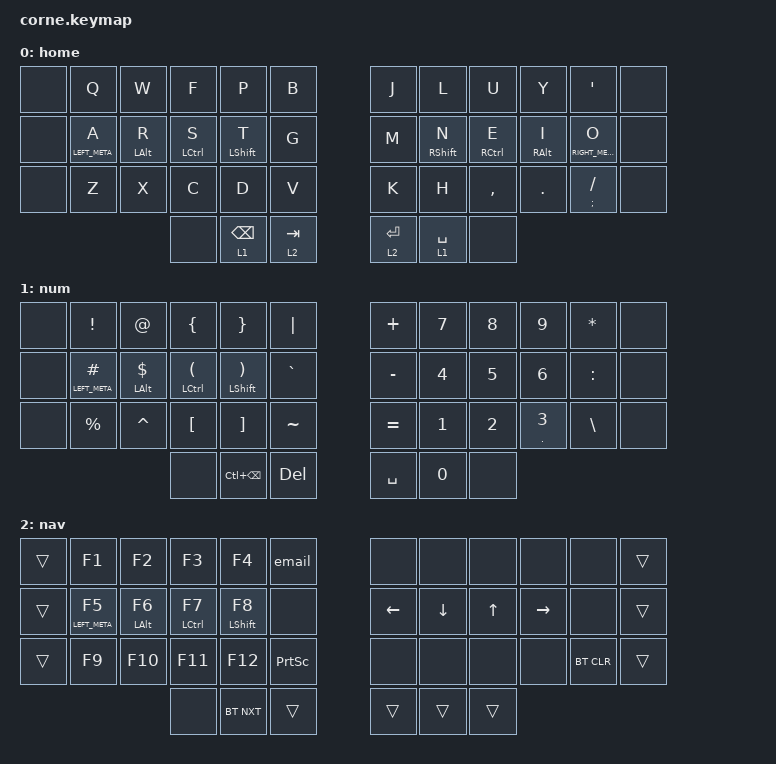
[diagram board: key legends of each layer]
/*
 * Copyright (c) 2020 The ZMK Contributors
 *
 * SPDX-License-Identifier: MIT
 */

#include <behaviors.dtsi>
#include <dt-bindings/zmk/bt.h>
#include <dt-bindings/zmk/keys.h>

/ {
    behaviors {
        hm: homerow_mods {
            compatible = "zmk,behavior-hold-tap";
            label = "HOMEROW_MODS";
            bindings = <&kp>, <&kp>;

            #binding-cells = <2>;
            tapping-term-ms = <200>;
            flavor = "tap-preferred";
            require-prior-idle-ms = <125>;
            quick-tap-ms = <200>;
        };

        shifthr: shifthr {
            compatible = "zmk,behavior-hold-tap";
            label = "SHIFTHR";
            bindings = <&kp>, <&kp>;

            #binding-cells = <2>;
            tapping-term-ms = <185>;
            flavor = "tap-preferred";
            quick-tap-ms = <185>;
        };

        weak: weak {
            compatible = "zmk,behavior-hold-tap";
            label = "WEAK";
            bindings = <&kp>, <&kp>;

            #binding-cells = <2>;
            tapping-term-ms = <230>;
            flavor = "tap-preferred";
            require-prior-idle-ms = <125>;
            quick-tap-ms = <230>;
        };

        backspace: backspace {
            compatible = "zmk,behavior-tap-dance";
            label = "BACKSPACE";
            #binding-cells = <0>;
            bindings = <&kp BACKSPACE>, <&kp LC(BACKSPACE)>;
        };
    };

    combos {
        compatible = "zmk,combos";

        escape {
            bindings = <&kp ESCAPE>;
            key-positions = <16 19>;
        };

        under {
            bindings = <&kp UNDER>;
            key-positions = <28 31>;
        };

        dash {
            bindings = <&kp MINUS>;
            key-positions = <4 7>;
        };

        capsword {
            bindings = <&caps_word>;
            key-positions = <13 22>;
        };
    };

    macros {
        save: save {
            compatible = "zmk,behavior-macro";
            #binding-cells = <0>;
            bindings = <&macro_tap>, <&kp ESCAPE &kp COLON &kp W &kp ENTER>;

            label = "SAVE";
        };

        email: email {
            compatible = "zmk,behavior-macro";
            #binding-cells = <0>;
            bindings = <&none &kp J &kp O &kp S &kp H &kp AT &kp J &kp O &kp S &kp H &kp B &kp L &kp A &kp I &kp S &kp DOT &kp C &kp O &kp M>;
            label = "EMAIL";
        };
    };

    keymap {
        compatible = "zmk,keymap";

        home {
            // -----------------------------------------------------------------------------------------
            // |  TAB |  Q  |  W  |  E  |  R  |  T  |   |  Y  |  U   |  I  |  O  |  P  | BKSP |
            // | CTRL |  A  |  S  |  D  |  F  |  G  |   |  H  |  J   |  K  |  L  |  ;  |  '   |
            // | SHFT |  Z  |  X  |  C  |  V  |  B  |   |  N  |  M   |  ,  |  .  |  /  | ESC  |
            //                    | GUI | LWR | SPC |   | ENT | RSE  | ALT |

            bindings = <
&none  &kp Q              &kp W             &kp F                    &kp P                  &kp B        &kp J      &kp L              &kp U             &kp Y              &kp APOS             &none
&none  &weak LEFT_META A  &weak LEFT_ALT R  &shifthr LEFT_CONTROL S  &shifthr LEFT_SHIFT T  &kp G        &kp M      &shifthr RSHIFT N  &shifthr RCTRL E  &weak RIGHT_ALT I  &weak RIGHT_META O   &none
&none  &kp Z              &kp X             &kp C                    &kp D                  &kp V        &kp K      &kp H              &kp COMMA         &kp DOT            &hm SEMICOLON SLASH  &none
                                            &none                    &lt 1 BACKSPACE        &lt 2 TAB    &lt 2 RET  &lt 1 SPACE        &none
            >;

            label = "home";
        };

        num {
            // -----------------------------------------------------------------------------------------
            // |  TAB |  !  |  @  |  #  |  $  |  %  |   |  ^  |  &  |  *  |  (  |  )  | BKSP |
            // | CTRL |     |     |     |     |     |   |  -  |  =  |  [  |  ]  |  \  |  `   |
            // | SHFT |     |     |     |     |     |   |  _  |  +  |  {  |  }  | "|" |  ~   |
            //                    | GUI |     | SPC |   | ENT |     | ALT |

            bindings = <
&none  &kp EXCL            &kp AT               &kp LEFT_BRACE              &kp RIGHT_BRACE                   &kp PIPE     &kp PLUS   &kp NUMBER_7  &kp N8        &kp N9                    &kp ASTERISK   &none
&none  &hm LEFT_META HASH  &hm LEFT_ALT DOLLAR  &hm LCTRL LEFT_PARENTHESIS  &hm LEFT_SHIFT RIGHT_PARENTHESIS  &kp GRAVE    &kp MINUS  &kp NUMBER_4  &kp NUMBER_5  &kp NUMBER_6              &kp COLON      &none
&none  &kp PERCENT         &kp CARET            &kp LEFT_BRACKET            &kp RIGHT_BRACKET                 &kp TILDE    &kp EQUAL  &kp NUMBER_1  &kp NUMBER_2  &shifthr PERIOD NUMBER_3  &kp BACKSLASH  &none
                                                &none                       &kp LC(BACKSPACE)                 &kp DEL      &kp SPACE  &kp NUMBER_0  &none
            >;

            label = "num";
        };

        nav {
            bindings = <
&trans  &kp F1            &kp F2           &kp F3        &kp F4             &email       &none           &none     &none         &none      &none       &trans
&trans  &hm LEFT_META F5  &hm LEFT_ALT F6  &hm LCTRL F7  &hm LEFT_SHIFT F8  &none        &kp LEFT_ARROW  &kp DOWN  &kp UP_ARROW  &kp RIGHT  &none       &trans
&trans  &kp F9            &kp F10          &kp F11       &kp F12            &kp PSCRN    &none           &none     &none         &none      &bt BT_CLR  &trans
                                           &none         &bt BT_NXT         &trans       &trans          &trans    &trans
            >;

            label = "nav";
        };
    };
};
